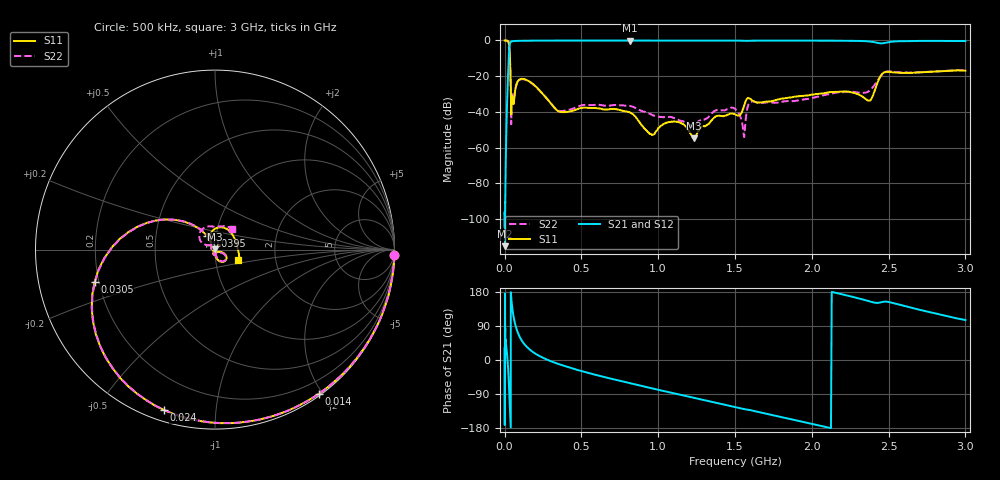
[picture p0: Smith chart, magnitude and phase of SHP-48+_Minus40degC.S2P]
! Mini-Circuits
! S2P DATA File Format
! Type: HIGH PASS FILTER
! Model: SHP-48+
! All S Parameters are in dB deg format
! TEST CONDITIONS: INPUT POWER = 0 dBm @ Temperature = -40deg C
# MHz S DB R 50
!Frequency  S11 dB  S11 DEG  S21 dB  S21 DEG  S12 dB  S12 DEG  S22 dB  S22 DEG
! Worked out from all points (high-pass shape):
!   780 points, 500 kHz to 3 GHz, reference 50 ohm
!   highest |S21| = -0.05 dB at 815 MHz (marker M1); lowest = -115.2 dB at 3.5 MHz (marker M2)
!   |S21| within 3 dB of the highest: 32.95 MHz to end of sweep
!   lowest |S11| = -54.9 dB at 1.235 GHz (marker M3), VSWR 1.00, Z = 50 + j0.177 ohm
!   |S11| at or under -10 dB: 35.17 MHz to end of sweep
!   |S22| runs from -54.1 to 0.0 dB; largest |S21 - S12| = 0.0033
!   S11 on the Smith chart (normalised r, x): 500 kHz: -1, -61; 14 MHz: 0.02, -1.96; 24 MHz: 0.05, -0.73; 30.5 MHz: 0.18, -0.13; 39.5 MHz: 0.91, +0.14; 3 GHz: 1.29, -0.15
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0.5  0.00 -1.9  -104.23 31.2  -102.38 53.6  -0.00 -1.9
3.5  -0.01 -12.8  -115.23 175.7  -92.83 107.1  -0.00 -12.9
14  -0.08 -54.1  -42.96 25.7  -42.91 25.6  -0.09 -53.9
24  -0.56 -107.5  -17.06 -27.2  -17.06 -27.3  -0.55 -107.1
30.5  -3.16 -165.0  -5.55 -86.7  -5.54 -86.7  -3.15 -164.6
39.5  -21.18 120.4  -0.89 -171.8  -0.88 -171.8  -21.26 118.6
43.5  -41.52 179.5  -0.64 165.5  -0.64 165.4  -46.91 -159.0
48.5  -31.19 -110.7  -0.51 144.4  -0.51 144.3  -30.35 -101.8
66  -30.00 -23.2  -0.30 100.0  -0.30 100.0  -29.66 -31.5
150  -22.40 -63.7  -0.13 32.6  -0.12 32.6  -22.59 -60.3
350  -39.58 -88.3  -0.07 -10.5  -0.06 -10.4  -39.18 -92.5
505  -37.75 -110.5  -0.07 -29.7  -0.06 -29.6  -36.22 -101.6
815  -40.32 -146.1  -0.05 -61.2  -0.07 -61.2  -36.73 -125.7
1005  -48.97 70.3  -0.07 -79.1  -0.07 -79.1  -42.74 -99.4
1235  -54.91 99.2  -0.06 -100.1  -0.07 -100.1  -48.05 -162.7
1505  -41.64 154.1  -0.10 -124.6  -0.09 -124.5  -38.66 119.2
1555  -37.80 179.6  -0.16 -129.2  -0.16 -129.2  -51.63 119.2
1605  -33.04 126.0  -0.15 -132.8  -0.15 -132.7  -34.29 164.2
2005  -30.29 43.6  -0.12 -169.0  -0.10 -168.9  -32.21 141.6
2375  -33.76 82.7  -0.55 154.8  -0.56 154.8  -28.20 139.4
2505  -17.62 52.2  -0.89 152.7  -0.89 152.8  -17.30 113.1
3000  -16.94 -23.3  -0.31 105.5  -0.32 105.4  -16.67 50.7
